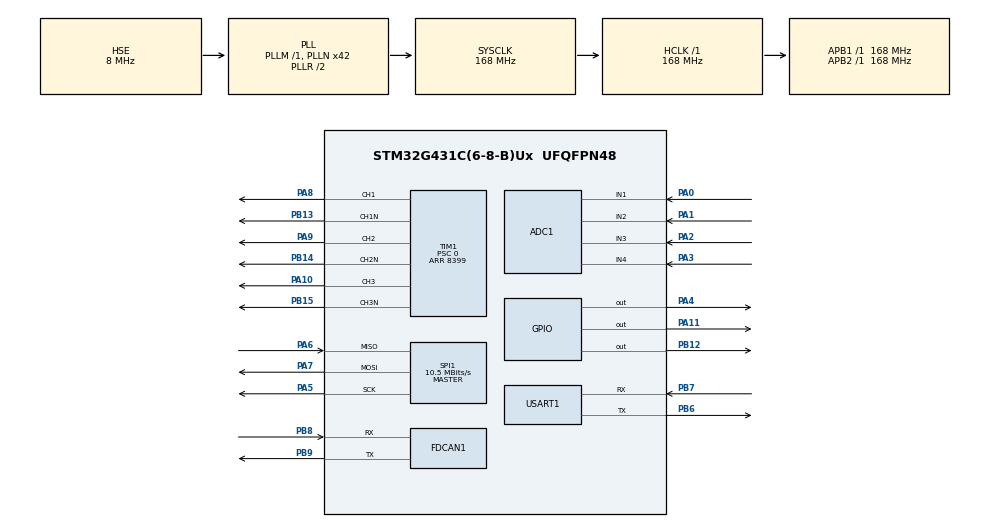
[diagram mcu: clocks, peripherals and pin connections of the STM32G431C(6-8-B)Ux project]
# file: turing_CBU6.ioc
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ADC1.Channel-10\#ChannelRegularConversion=ADC_CHANNEL_1
ADC1.ClockPrescaler=ADC_CLOCK_SYNC_PCLK_DIV4
ADC1.EnableInjectedConversion=ENABLE
ADC1.EnableRegularConversion=ENABLE
ADC1.ExternalTrigInjecConv=ADC_EXTERNALTRIGINJEC_T1_CC4
ADC1.InjNumberOfConversion=4
ADC1.InjectedChannel-11\#ChannelInjectedConversion=ADC_CHANNEL_4
ADC1.InjectedChannel-6\#ChannelInjectedConversion=ADC_CHANNEL_1
ADC1.InjectedChannel-7\#ChannelInjectedConversion=ADC_CHANNEL_2
ADC1.InjectedChannel-8\#ChannelInjectedConversion=ADC_CHANNEL_3
ADC1.InjectedOffsetNumber-11\#ChannelInjectedConversion=ADC_OFFSET_NONE
ADC1.InjectedOffsetNumber-6\#ChannelInjectedConversion=ADC_OFFSET_NONE
ADC1.InjectedOffsetNumber-7\#ChannelInjectedConversion=ADC_OFFSET_NONE
ADC1.InjectedOffsetNumber-8\#ChannelInjectedConversion=ADC_OFFSET_NONE
ADC1.InjectedRank-11\#ChannelInjectedConversion=4
ADC1.InjectedRank-6\#ChannelInjectedConversion=1
ADC1.InjectedRank-7\#ChannelInjectedConversion=2
ADC1.InjectedRank-8\#ChannelInjectedConversion=3
ADC1.InjectedSamplingTime-11\#ChannelInjectedConversion=ADC_SAMPLETIME_2CYCLES_5
ADC1.InjectedSamplingTime-6\#ChannelInjectedConversion=ADC_SAMPLETIME_2CYCLES_5
ADC1.InjectedSamplingTime-7\#ChannelInjectedConversion=ADC_SAMPLETIME_2CYCLES_5
ADC1.InjectedSamplingTime-8\#ChannelInjectedConversion=ADC_SAMPLETIME_2CYCLES_5
ADC1.NbrOfConversionFlag=1
ADC1.OffsetNumber-10\#ChannelRegularConversion=ADC_OFFSET_NONE
ADC1.Rank-10\#ChannelRegularConversion=1
ADC1.Rank2_Channel=ADC_CHANNEL_2
ADC1.Rank3_Channel=ADC_CHANNEL_3
ADC1.Rank4_Channel=ADC_CHANNEL_4
ADC1.SamplingTime-10\#ChannelRegularConversion=ADC_SAMPLETIME_2CYCLES_5
ADC1.master=1
Dma.Request0=USART1_RX
Dma.Request1=USART1_TX
Dma.USART1_RX.0.Direction=DMA_PERIPH_TO_MEMORY
Dma.USART1_RX.0.EventEnable=DISABLE
Dma.USART1_RX.0.Instance=DMA1_Channel3
Dma.USART1_RX.0.MemDataAlignment=DMA_MDATAALIGN_BYTE
Dma.USART1_RX.0.MemInc=DMA_MINC_ENABLE
Dma.USART1_RX.0.Mode=DMA_NORMAL
Dma.USART1_RX.0.PeriphDataAlignment=DMA_PDATAALIGN_BYTE
Dma.USART1_RX.0.PeriphInc=DMA_PINC_DISABLE
Dma.USART1_RX.0.Polarity=HAL_DMAMUX_REQ_GEN_RISING
Dma.USART1_RX.0.Priority=DMA_PRIORITY_LOW
Dma.USART1_RX.0.RequestNumber=1
Dma.USART1_RX.0.SignalID=NONE
Dma.USART1_RX.0.SyncEnable=DISABLE
Dma.USART1_RX.0.SyncPolarity=HAL_DMAMUX_SYNC_NO_EVENT
Dma.USART1_RX.0.SyncRequestNumber=1
Dma.USART1_RX.0.SyncSignalID=NONE
Dma.USART1_TX.1.Direction=DMA_MEMORY_TO_PERIPH
Dma.USART1_TX.1.EventEnable=DISABLE
Dma.USART1_TX.1.Instance=DMA1_Channel2
Dma.USART1_TX.1.MemDataAlignment=DMA_MDATAALIGN_BYTE
Dma.USART1_TX.1.MemInc=DMA_MINC_ENABLE
Dma.USART1_TX.1.Mode=DMA_NORMAL
Dma.USART1_TX.1.PeriphDataAlignment=DMA_PDATAALIGN_BYTE
Dma.USART1_TX.1.PeriphInc=DMA_PINC_DISABLE
Dma.USART1_TX.1.Polarity=HAL_DMAMUX_REQ_GEN_RISING
Dma.USART1_TX.1.Priority=DMA_PRIORITY_LOW
Dma.USART1_TX.1.RequestNumber=1
Dma.USART1_TX.1.SignalID=NONE
Dma.USART1_TX.1.SyncEnable=DISABLE
Dma.USART1_TX.1.SyncPolarity=HAL_DMAMUX_SYNC_NO_EVENT
Dma.USART1_TX.1.SyncRequestNumber=1
Dma.USART1_TX.1.SyncSignalID=NONE
FDCAN1.CalculateBaudRateNominal=2100000
FDCAN1.CalculateTimeBitNominal=476
FDCAN1.CalculateTimeQuantumNominal=95.23809523809524
Mcu.Family=STM32G4
Mcu.Name=STM32G431C(6-8-B)Ux
Mcu.Package=UFQFPN48
NVIC.ADC1_2_IRQn=true\:0\:0\:false\:false\:true\:true\:true\:true
NVIC.DMA1_Channel2_IRQn=true\:0\:0\:true\:false\:true\:false\:true\:true
NVIC.DMA1_Channel3_IRQn=true\:0\:0\:false\:false\:true\:false\:true\:true
NVIC.PriorityGroup=NVIC_PRIORITYGROUP_4
NVIC.SPI1_IRQn=true\:0\:0\:false\:false\:true\:true\:true\:true
NVIC.TIM1_BRK_TIM15_IRQn=true\:0\:0\:false\:false\:true\:true\:true\:true
NVIC.TIM1_CC_IRQn=true\:0\:0\:false\:false\:true\:true\:true\:true
NVIC.TIM1_TRG_COM_TIM17_IRQn=true\:0\:0\:false\:false\:true\:true\:true\:true
NVIC.TIM1_UP_TIM16_IRQn=true\:0\:0\:false\:false\:true\:true\:true\:true
NVIC.TIM3_IRQn=true\:0\:0\:true\:false\:true\:true\:true\:true
NVIC.TIM4_IRQn=true\:0\:0\:false\:false\:true\:true\:true\:true
NVIC.USART1_IRQn=true\:0\:0\:false\:false\:true\:true\:true\:true
PA0.Mode=IN1-Single-Ended
PA0.Signal=ADC1_IN1
PA1.Mode=IN2-Single-Ended
PA1.Signal=ADC1_IN2
PA10.Signal=S_TIM1_CH3
PA11.GPIO_Speed=GPIO_SPEED_FREQ_HIGH
PA11.Signal=GPIO_Output
PA13.Mode=Serial_Wire
PA13.Signal=SYS_JTMS-SWDIO
PA14.Mode=Serial_Wire
PA14.Signal=SYS_JTCK-SWCLK
PA2.Mode=IN3-Single-Ended
PA2.Signal=ADC1_IN3
PA3.Mode=IN4-Single-Ended
PA3.Signal=ADC1_IN4
PA4.GPIO_PuPd=GPIO_PULLDOWN
PA4.GPIO_Speed=GPIO_SPEED_FREQ_HIGH
PA4.Signal=GPIO_Output
PA5.Mode=Full_Duplex_Master
PA5.Signal=SPI1_SCK
PA6.Mode=Full_Duplex_Master
PA6.Signal=SPI1_MISO
PA7.Mode=Full_Duplex_Master
PA7.Signal=SPI1_MOSI
PA8.Signal=S_TIM1_CH1
PA9.Signal=S_TIM1_CH2
PB12.GPIO_Speed=GPIO_SPEED_FREQ_HIGH
PB12.PinState=GPIO_PIN_RESET
PB12.Signal=GPIO_Output
PB13.Mode=PWM Generation1 CH1 CH1N
PB13.Signal=TIM1_CH1N
PB14.Mode=PWM Generation2 CH2 CH2N
PB14.Signal=TIM1_CH2N
PB15.Mode=PWM Generation3 CH3 CH3N
PB15.Signal=TIM1_CH3N
PB6.Mode=Asynchronous
PB6.Signal=USART1_TX
PB7.Mode=Asynchronous
PB7.Signal=USART1_RX
PB8-BOOT0.Mode=FDCAN_Activate
PB8-BOOT0.Signal=FDCAN1_RX
PB9.Mode=FDCAN_Activate
PB9.Signal=FDCAN1_TX
PF0-OSC_IN.Mode=HSE-External-Oscillator
PF0-OSC_IN.Signal=RCC_OSC_IN
PF1-OSC_OUT.Mode=HSE-External-Oscillator
PF1-OSC_OUT.Signal=RCC_OSC_OUT
ProjectManager.HeapSize=0x200
ProjectManager.StackSize=0x400
ProjectManager.TargetToolchain=MDK-ARM V5.32
RCC.ADC12Freq_Value=168000000
RCC.AHBFreq_Value=168000000
RCC.APB1Freq_Value=168000000
RCC.APB1TimFreq_Value=168000000
RCC.APB2Freq_Value=168000000
RCC.APB2TimFreq_Value=168000000
RCC.CortexFreq_Value=168000000
RCC.EXTERNAL_CLOCK_VALUE=12288000
RCC.HCLKFreq_Value=168000000
RCC.HSE_VALUE=8000000
RCC.HSI48_VALUE=48000000
RCC.HSI_VALUE=16000000
RCC.LSE_VALUE=32768
RCC.PLLN=42
RCC.PLLSourceVirtual=RCC_PLLSOURCE_HSE
RCC.SYSCLKFreq_VALUE=168000000
RCC.SYSCLKSource=RCC_SYSCLKSOURCE_PLLCLK
RCC.USBFreq_Value=168000000
RCC.VCOOutputFreq_Value=336000000
SH.S_TIM1_CH1.0=TIM1_CH1,PWM Generation1 CH1 CH1N
SH.S_TIM1_CH2.0=TIM1_CH2,PWM Generation2 CH2 CH2N
SH.S_TIM1_CH3.0=TIM1_CH3,PWM Generation3 CH3 CH3N
SPI1.BaudRatePrescaler=SPI_BAUDRATEPRESCALER_16
SPI1.CLKPhase=SPI_PHASE_2EDGE
SPI1.CLKPolarity=SPI_POLARITY_HIGH
SPI1.CalculateBaudRate=10.5 MBits/s
SPI1.DataSize=SPI_DATASIZE_16BIT
SPI1.Direction=SPI_DIRECTION_2LINES
SPI1.Mode=SPI_MODE_MASTER
SPI1.VirtualType=VM_MASTER
TIM1.AutoReloadPreload=TIM_AUTORELOAD_PRELOAD_DISABLE
TIM1.BreakState=TIM_BREAK_ENABLE
TIM1.Channel-PWM\ Generation1\ CH1\ CH1N=TIM_CHANNEL_1
TIM1.Channel-PWM\ Generation2\ CH2\ CH2N=TIM_CHANNEL_2
TIM1.Channel-PWM\ Generation3\ CH3\ CH3N=TIM_CHANNEL_3
TIM1.Channel-PWM\ Generation4\ No\ Output=TIM_CHANNEL_4
TIM1.CounterMode=TIM_COUNTERMODE_CENTERALIGNED1
TIM1.DeadTime=10
TIM1.OCMode_PWM-PWM\ Generation4\ No\ Output=TIM_OCMODE_PWM2
TIM1.PeriodNoDither=8399
TIM1.Prescaler=0
TIM1.PulseNoDither_4=8380
TIM3.PeriodNoDither=20-1
TIM3.Prescaler=16800-1
TIM4.Prescaler=168
USART1.VirtualMode-Asynchronous=VM_ASYNC
VP_SYS_VS_DBSignals.Mode=DisableDeadBatterySignals
VP_TIM1_VS_ClockSourceINT.Mode=Internal
VP_TIM1_VS_no_output4.Mode=PWM Generation4 No Output
VP_TIM3_VS_ClockSourceINT.Mode=Internal
VP_TIM4_VS_ClockSourceINT.Mode=Internal
board=custom

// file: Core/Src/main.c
/* USER CODE BEGIN Header */
/**
  ******************************************************************************
  * @file           : main.c
  * @brief          : Main program body
  ******************************************************************************
  * @attention
  *
  * Copyright (c) 2024 STMicroelectronics.
  * All rights reserved.
  *
  * This software is licensed under terms that can be found in the LICENSE file
  * in the root directory of this software component.
  * If no LICENSE file comes with this software, it is provided AS-IS.
  *
  ******************************************************************************
  */
/* USER CODE END Header */
#include "main.h"
#include "adc.h"
#include "dma.h"
#include "fdcan.h"
#include "spi.h"
#include "tim.h"
#include "usart.h"
#include "gpio.h"

/* USER CODE BEGIN Includes */
#include "Data.h"
#include "FOC.h"
#include "mt6816.h"
#include "Motor.h"
#include "Lowpass.h"
#include "can_bridge.h"
#include "drive_uart_debug.h"
#include <string.h>
#include <stdio.h>
#include <stdarg.h>
#include <stdlib.h>
/* USER CODE END Includes */

/* USER CODE BEGIN PV */
static uint8_t dma_in_process=0;
static uint32_t overflow_count = 0;
static uint8_t buffer_receive[100];
static volatile uint8_t motor_calibration_requested=0;
/* USER CODE END PV */

#ifndef YYT_SAFE_START
#define YYT_SAFE_START 1
#endif

#ifndef YYT_DISABLE_OUTPUT
#define YYT_DISABLE_OUTPUT 0
#endif

#ifndef YYT_UART_DEBUG
#define YYT_UART_DEBUG 0
#endif

void SystemClock_Config(void);
/* USER CODE BEGIN PFP */
uint32_t Get_Timestamp_us(void)
{
    uint32_t timestamp = 0;
    uint32_t current_count;

    __disable_irq();
    current_count = __HAL_TIM_GET_COUNTER(&htim4);
    timestamp = (overflow_count * 0xFFFF + current_count); // 1MHz
    __enable_irq();

    return timestamp;
}

float parseData(const char* input)
{
		const char* equalSign_ptr = strchr(input, '=');
    if (equalSign_ptr == NULL)
    {
        return -1.0f;
    }
		const char* end = strchr(input, '!');
    if (end == NULL)
    {
        return -2.0f;
    }
		const char* data_ptr=equalSign_ptr+1;

		char command[16];
    char data[16];
    size_t command_length = equalSign_ptr - input;
		size_t data_length=end-data_ptr;

    strncpy(command, input, command_length);
		strncpy(data, data_ptr, data_length);
    command[command_length] = '\0';
		data[data_length] = '\0';
		float data_flt=1.0f;
    if(strcmp(command,"P1")==0)
		{
			PID_Pos.P= atof(data);

		}
		else if(strcmp(command,"I1")==0)
		{
			PID_Pos.I= atof(data);
		}
		else if(strcmp(command,"D1")==0)
		{
			PID_Pos.D= atof(data);
		}
		else if(strcmp(command,"P0")==0)
		{
			Pos_set= atof(data);
		}
		else if(strcmp(command,"V0")==0)
		{
			Velo_set= atof(data);
		}
		else if(strcmp(command,"P2")==0)
		{
			PID_Vel.P= atof(data);
		}
		else if(strcmp(command,"I2")==0)
		{
			PID_Vel.I= atof(data);
		}
		else if(strcmp(command,"D2")==0)
		{
			PID_Vel.D= atof(data);
		}
		else if(strcmp(command,"Q0")==0)
		{
			IQ_set= atof(data);
		}
		else if(strcmp(command,"D0")==0)
		{
			ID_set= atof(data);
		}

		else if(strcmp(command,"P3")==0)
		{
			PID_Cur_Q.P= atof(data);
		}
		else if(strcmp(command,"I3")==0)
		{
			PID_Cur_Q.I= atof(data);
		}
		else if(strcmp(command,"D3")==0)
		{
			PID_Cur_Q.D= atof(data);
		}
		else if(strcmp(command,"P4")==0)
		{
			PID_Cur_D.P= atof(data);
		}
		else if(strcmp(command,"I4")==0)
		{
			PID_Cur_D.I= atof(data);
		}
		else if(strcmp(command,"D4")==0)
		{
			PID_Cur_D.D= atof(data);
		}
		else if(strcmp(command,"P5")==0)
		{
			PID_Vel_Cur.P= atof(data);
		}
		else if(strcmp(command,"I5")==0)
		{
			PID_Vel_Cur.I= atof(data);
		}
		else if(strcmp(command,"D5")==0)
		{
			PID_Vel_Cur.D= atof(data);
		}
		else if(strcmp(command,"P6")==0)
		{
			PID_Pos_Cur.P= atof(data);
		}
		else if(strcmp(command,"I6")==0)
		{
			PID_Pos_Cur.I= atof(data);
		}
		else if(strcmp(command,"D6")==0)
		{
			PID_Pos_Cur.D= atof(data);
		}
				else if(strcmp(command,"P7")==0)
		{
			PID_Pos_Vel_Cur.P= atof(data);
		}
		else if(strcmp(command,"I7")==0)
		{
			PID_Pos_Vel_Cur.I= atof(data);
		}
		else if(strcmp(command,"D7")==0)
		{
			PID_Pos_Vel_Cur.D= atof(data);
		}
		else if(strcmp(command,"M0")==0)
		{
			mode= atof(data);
		}
		else if(strcmp(command,"C0")==0)
		{
			if(atof(data)>0.5f)
			{
				motor_calibration_requested=1;
			}
		}
		else if(strcmp(command,"L0")==0)
		{
			uq_limit= atof(data);
		}
		return data_flt;
}

void VOFA_RUN()
{
		if(mode<0)
		{
			setPhaseVoltage(0,0,zero_electric_angle_norm);
		}
		else if(mode==0)
		{
			PositionCloseloop(Pos_set);
		}
		else if(mode==1)
		{
			VelocityCloseloop(Velo_set);
		}
		else if(mode==2)
		{
			//velocityOpenloop(0.1);
			CurrentCloseloop(IQ_set,ID_set);
		}
		else if(mode==3)
		{
			Velocity_CurrentCloseloop(Velo_set);
		}
		else if(mode==4)
		{
			Position_CurrentCloseloop(Pos_set);
		}
		else if(mode==5)
		{
			Position_Velocity_CurrentCloseloop(Pos_set);
		}
		else if(mode==6)
		{
			velocityOpenloop(0.1);
		}

}
/* USER CODE END PFP */

/* USER CODE BEGIN 0 */
void System_Init()
{
		LOWPass_Init();
	  convert=vcc/shunt_resistor/adc_cpr/amp_gain;
}
/* USER CODE END 0 */

int main(void)
{

  /* MCU Configuration--------------------------------------------------------*/

  /* Reset of all peripherals, Initializes the Flash interface and the Systick. */
  HAL_Init();

  /* Configure the system clock */
  SystemClock_Config();

  /* Initialize all configured peripherals */
  MX_GPIO_Init();
  MX_DMA_Init();
  MX_ADC1_Init();
  MX_TIM1_Init();
  MX_USART1_UART_Init();
  MX_TIM3_Init();
  MX_FDCAN1_Init();
  MX_SPI1_Init();
  MX_TIM4_Init();
  /* USER CODE BEGIN 2 */
	HAL_ADCEx_Calibration_Start(&hadc1,ADC_SINGLE_ENDED);
	HAL_TIM_Base_Start(&htim1);
	HAL_TIM_PWM_Start(&htim1,TIM_CHANNEL_4);
	__HAL_TIM_SET_COMPARE(&htim1, TIM_CHANNEL_4, __HAL_TIM_GET_AUTORELOAD(&htim1) - 10);
	HAL_ADCEx_InjectedStart_IT(&hadc1);
	ADC_Count_Caloffset();

	HAL_TIM_PWM_Start(&htim1,TIM_CHANNEL_1); //开启三个PWM通道输出
	HAL_TIM_PWM_Start(&htim1,TIM_CHANNEL_3);
	HAL_TIM_PWM_Start(&htim1,TIM_CHANNEL_2);

	HAL_TIMEx_PWMN_Start(&htim1,TIM_CHANNEL_1);
	HAL_TIMEx_PWMN_Start(&htim1,TIM_CHANNEL_2);
	HAL_TIMEx_PWMN_Start(&htim1,TIM_CHANNEL_3);

	HAL_TIM_Base_Start_IT(&htim3);
	HAL_TIM_Base_Start_IT(&htim4);
	MT6816_SPI_Signal_Init();
	CAN_Bridge_Init();
  /* USER CODE END 2 */

  /* Infinite loop */
  /* USER CODE BEGIN WHILE */
	System_Init();
#if YYT_DISABLE_OUTPUT
	Pos_set=0;
	Velo_set=0;
	IQ_set=0;
	ID_set=0;
	mode=-1;
	uq_limit=0;
	zero_electric_angle_norm=0;
	HAL_GPIO_WritePin(GPIOA,GPIO_PIN_4,GPIO_PIN_SET);
#elif YYT_SAFE_START
	Motor_init();
	PID_Pos_Set(50,27,0,6);
  PID_Cur_D_Set(7.5,30,0,6);
	PID_Cur_Q_Set(7.5,40,0,12);
	PID_Vel_Set(5,6.2,0,12);
	PID_Vel_Cur_Set(0.7,5.7,0,12);
	PID_Pos_Cur_Set(20,2,0,3);
	pole_pairs = MOTOR_POLE_PAIRS;
	Pos_set=0;
	Velo_set=0;
	IQ_set=0;
	ID_set=0;
	mode=-1;
	uq_limit=12;
	voltage_power_supply =12;
#if !MOTOR_AUTO_ELECTRIC_ZERO
	zero_electric_angle=MOTOR_ZERO_ELECTRIC_ANGLE;
#endif
	zero_electric_angle_norm=0;
	HAL_GPIO_WritePin(GPIOA,GPIO_PIN_4,GPIO_PIN_SET);
#else
	Motor_init();
	//4108 10 oomm parameter
	PID_Pos_Set(50,27,0,6);
  PID_Cur_D_Set(7.5,30,0,6);
	PID_Cur_Q_Set(7.5,40,0,12);
	PID_Vel_Set(5,6.2,0,12);
	PID_Vel_Cur_Set(0.7,5.7,0,12);
	PID_Pos_Cur_Set(20,2,0,3);
	pole_pairs = 11;
	Velo_set=6.28;
	mode=1;
	voltage_power_supply =12;

	//4108 3 oomm parameter
//	PID_Pos_Set(50,27,0,6);
//  PID_Cur_D_Set(2.2,3,0,6);
//	PID_Cur_Q_Set(2.2,3,0,6);
//	PID_Vel_Set(7.5,0.1,0,12);
//		pole_pairs = 11;
	//6015 parameter
//	PID_Pos_Set(50,27,0,6);
//	PID_Pos_Cur_Set(20,2,0,3);
//	PID_Pos_Vel_Cur_Set(20,2,0,3);
//  PID_Cur_D_Set(7.5,30,0,6);
//	PID_Cur_Q_Set(18,20,0,12);
//	PID_Vel_Set(7.5,0.1,0,12);
//	PID_Vel_Cur_Set(2.4,30,0,12);
//	pole_pairs = 14;
//	Velo_set=6.28;
//	mode=3;
//
	HAL_GPIO_WritePin(GPIOA,GPIO_PIN_4,GPIO_PIN_SET);
//	Pos_set=3.14;
//	IQ_set=3.0;
#endif
#if YYT_UART_DEBUG
	DriveUartDebug_Init(buffer_receive, sizeof(buffer_receive));
#endif

  while (1)
  {
		if(motor_calibration_requested)
		{
			motor_calibration_requested=0;
			mode=-1;
			IQ_set=0;
			ID_set=0;
			Velo_set=0;
			Motor_init();
		}
//		velocityOpenloop(0.1);
		//MT6816_Get_Velocity_L();
		//VelocityCloseloop(Velo_set);
		clarke_transform();
		park_transform(zero_electric_angle_norm);
		#if YYT_UART_DEBUG
		DriveUartDebug_Run();
		#else
		CAN_Bridge_Run();
		VOFA_RUN();
		#endif

		//PositionCloseloop(Pos_set);
    /* USER CODE END WHILE */

  }
}

void SystemClock_Config(void)
{
  RCC_OscInitTypeDef RCC_OscInitStruct = {0};
  RCC_ClkInitTypeDef RCC_ClkInitStruct = {0};

  /** Configure the main internal regulator output voltage
  */
  HAL_PWREx_ControlVoltageScaling(PWR_REGULATOR_VOLTAGE_SCALE1_BOOST);

  /** Initializes the RCC Oscillators according to the specified parameters
  * in the RCC_OscInitTypeDef structure.
  */
  RCC_OscInitStruct.OscillatorType = RCC_OSCILLATORTYPE_HSE;
  RCC_OscInitStruct.HSEState = RCC_HSE_ON;
  RCC_OscInitStruct.PLL.PLLState = RCC_PLL_ON;
  RCC_OscInitStruct.PLL.PLLSource = RCC_PLLSOURCE_HSE;
  RCC_OscInitStruct.PLL.PLLM = RCC_PLLM_DIV1;
  RCC_OscInitStruct.PLL.PLLN = 42;
  RCC_OscInitStruct.PLL.PLLP = RCC_PLLP_DIV2;
  RCC_OscInitStruct.PLL.PLLQ = RCC_PLLQ_DIV2;
  RCC_OscInitStruct.PLL.PLLR = RCC_PLLR_DIV2;
  if (HAL_RCC_OscConfig(&RCC_OscInitStruct) != HAL_OK)
  {
    Error_Handler();
  }

  /** Initializes the CPU, AHB and APB buses clocks
  */
  RCC_ClkInitStruct.ClockType = RCC_CLOCKTYPE_HCLK|RCC_CLOCKTYPE_SYSCLK
                              |RCC_CLOCKTYPE_PCLK1|RCC_CLOCKTYPE_PCLK2;
  RCC_ClkInitStruct.SYSCLKSource = RCC_SYSCLKSOURCE_PLLCLK;
  RCC_ClkInitStruct.AHBCLKDivider = RCC_SYSCLK_DIV1;
  RCC_ClkInitStruct.APB1CLKDivider = RCC_HCLK_DIV1;
  RCC_ClkInitStruct.APB2CLKDivider = RCC_HCLK_DIV1;

  if (HAL_RCC_ClockConfig(&RCC_ClkInitStruct, FLASH_LATENCY_4) != HAL_OK)
  {
    Error_Handler();
  }
}

/* USER CODE BEGIN 4 */
void ADC_Count_Caloffset()
{
    for (int i = 0; i < 16; ++i)
    {
        HAL_Delay(1);
        adc_value_in1_raw = HAL_ADCEx_InjectedGetValue(&hadc1, ADC_INJECTED_RANK_1);
        adc_value_in2_raw = HAL_ADCEx_InjectedGetValue(&hadc1, ADC_INJECTED_RANK_2);
        adc_value_in3_raw = HAL_ADCEx_InjectedGetValue(&hadc1, ADC_INJECTED_RANK_3);
			  adc_value_in4_raw = HAL_ADCEx_InjectedGetValue(&hadc1, ADC_INJECTED_RANK_4);
        bias_ia+=adc_value_in1_raw;
				bias_ib+=adc_value_in2_raw;
				bias_ic+=adc_value_in3_raw;
				bias_vbus+=adc_value_in4_raw;
    }
		bias_ia = bias_ia / 16.0f;
    bias_ib = bias_ib / 16.0f;
    bias_ic = bias_ic / 16.0f;
    bias_vbus = bias_vbus / 16.0f;
}

void HAL_ADCEx_InjectedConvCpltCallback(ADC_HandleTypeDef* hadc)
{
	if (hadc->Instance == ADC1)
	{
			adc_value_in1 = HAL_ADCEx_InjectedGetValue(hadc, ADC_INJECTED_RANK_1);

			ia=(adc_value_in1-bias_ia)*0.00161132f;
      adc_value_in2 = HAL_ADCEx_InjectedGetValue(hadc, ADC_INJECTED_RANK_2);
			ib=(adc_value_in2-bias_ib)*0.00161132f;
      adc_value_in3 = HAL_ADCEx_InjectedGetValue(hadc, ADC_INJECTED_RANK_3);
			ic=(adc_value_in3-bias_ic)*0.00161132f;
		  adc_value_in4 = HAL_ADCEx_InjectedGetValue(hadc, ADC_INJECTED_RANK_4);
			vbus=(adc_value_in4-bias_vbus)*0.0088623f;
	}
}

int count=0;
void HAL_TIM_PeriodElapsedCallback(TIM_HandleTypeDef *htim)
{

		if (htim->Instance == TIM3)
	 {
			#if !YYT_UART_DEBUG
			static float data[11];
		  data[0]=(float)ia;
			data[1]=(float)ib;
			data[2]=(float)ic;

			data[3]=(float)Velo_set ;
			data[4]=(float)mt6816_spi.velocity_time_pack_prev.velocity;
			data[5]=(float)mt6816_spi.angle;
			data[6]=(float)mt6816_spi.angle_full_rotation;
			data[7]=(float)Id;
			data[8]=(float)Iq;
			data[9]=(float)PID_output;
			data[10]=(float)zero_electric_angle;

			static uint8_t tail[4]={0x00,0x00,0x80,0x7f};
			static uint8_t buffer_transmit[sizeof(float)*11 + sizeof(tail)];

			memcpy(buffer_transmit, data, sizeof(float)*11);

			memcpy(buffer_transmit + sizeof(float)*11, tail, sizeof(tail));
			if(dma_in_process==0)
			{
				dma_in_process=1;
				HAL_UARTEx_ReceiveToIdle_DMA(&huart1, buffer_receive, sizeof(buffer_receive));
				HAL_UART_Transmit_DMA(&huart1, buffer_transmit, sizeof(buffer_transmit));
			}
		#endif
		}

		if (htim->Instance == TIM4)
		{
			 overflow_count++;
		}
}

void HAL_UART_TxCpltCallback(UART_HandleTypeDef *huart)
{
    if (huart->Instance == USART1) {
			dma_in_process=0;
    }
}

void HAL_UARTEx_RxEventCallback(UART_HandleTypeDef *huart,uint16_t Size)
{
	if(huart==&huart1)
	{
#if YYT_UART_DEBUG
		DriveUartDebug_OnRx(buffer_receive, Size);
#else
			static float data_[1];
		  data_[0]=(float)parseData((char*)buffer_receive);
#endif
	}
}

void HAL_UART_ErrorCallback(UART_HandleTypeDef *huart)
{
    if (huart == &huart1)
    {
#if YYT_UART_DEBUG
        DriveUartDebug_RestartRx();
#else
        HAL_UARTEx_ReceiveToIdle_DMA(&huart1, buffer_receive, sizeof(buffer_receive));
#endif
    }
}

/* USER CODE END 4 */

void Error_Handler(void)
{
  __disable_irq();
  while (1)
  {
  }
}
